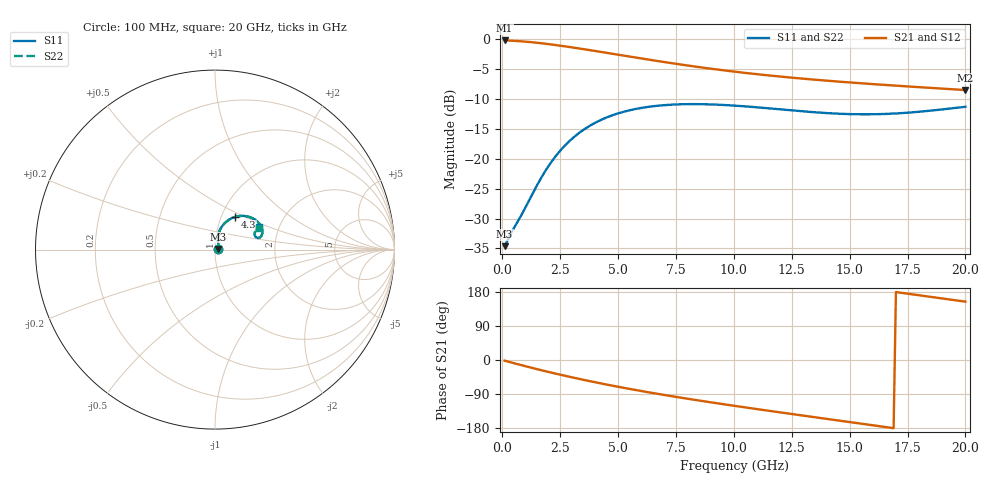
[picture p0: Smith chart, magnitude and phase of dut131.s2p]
! Touchstone file exported from HFSS 2024.1.0
!  File:  C:/UserFiles/LocalFiles/RDL_TSV_Batchsim/temp_RDL_TSV_131_1779427392.aedt
!  Generated:  01:36:16 PM May 22, 2026
!  Design:  RDL_TSV
!  Project:  temp_RDL_TSV_131_1779427392
!  Setup:  Setup1
!  Solution:  Sweep
! Variables:
!  dtsv = 9.77um
!  hbump = 3um
!  htsv = 53.54um
!  ldown = 562.92um
!  lrdl = 393.77um
!  p = 40
!  p1 = 42.29um
!  rhole = 10um
!  subl = 3263.84um
!  t = 450um
!  tdown = 4.86um
!  trdl = 2.44um
!  viad = 10um
!  wdown = 15.01um
!  wrdl = 24.79um
!  xbump = 18um
# GHz S MA R 50.000000
! Terminal data exported
! Port[1] = TM1_1_T1
! Port[2] = TM1_4_T1
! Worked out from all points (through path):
!   200 points, 100 MHz to 20 GHz, reference 50 ohm
!   highest |S21| = -0.16 dB at 100 MHz (marker M1); lowest = -8.5 dB at 20 GHz (marker M2)
!   group delay of S21, straight-line fit = 27.1 ps
!   lowest |S11| = -34.6 dB at 100 MHz (marker M3), VSWR 1.04, Z = 51.8 + j0.424 ohm
!   |S11| at or under -10 dB: start of sweep to end of sweep
!   |S22| runs from -34.6 to -10.9 dB; largest |S21 - S12| = 1.5e-14
!   S11 on the Smith chart (normalised r, x): 100 MHz: 1.04, +0.01; 4.3 GHz: 1.16, +0.44; 20 GHz: 1.57, +0.42
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0.1  0.01856 12.7  0.9816 -1.7  0.9816 -1.7  0.01856 12.7
! Gamma 0 0 0 0
! Port Impedance 50 0 50 0
0.5  0.0263 42.1  0.9743 -8.4  0.9743 -8.4  0.0263 42.0
1  0.03915 63.7  0.9595 -16.4  0.9595 -16.4  0.03915 63.6
1.6  0.06516 75.9  0.9345 -25.7  0.9345 -25.7  0.06511 75.8
2  0.08724 77.4  0.9147 -31.6  0.9147 -31.6  0.08713 77.3
2.3  0.105 76.6  0.8988 -35.9  0.8988 -35.9  0.1048 76.5
2.7  0.129 74.1  0.8766 -41.5  0.8766 -41.5  0.1288 74.0
3.1  0.1526 70.6  0.8539 -47.0  0.8539 -47.0  0.1523 70.5
3.5  0.1748 66.7  0.8308 -52.2  0.8308 -52.2  0.1744 66.5
4.3  0.2136 58.5  0.785 -62.3  0.785 -62.3  0.2131 58.3
5.4  0.2526 47.8  0.7247 -75.2  0.7247 -75.2  0.2519 47.7
6.1  0.269 41.7  0.689 -82.9  0.689 -82.9  0.2683 41.6
6.8  0.2798 36.2  0.6558 -90.3  0.6558 -90.3  0.279 36.1
7.6  0.2861 30.8  0.6213 -98.3  0.6213 -98.3  0.2853 30.7
8.4  0.2875 26.2  0.5904 -106.1  0.5904 -106.1  0.2866 26.1
10.1  0.2787 19.0  0.5357 -121.6  0.5357 -121.6  0.2779 18.9
11.7  0.2631 15.6  0.4956 -135.7  0.4956 -135.7  0.2624 15.5
13.4  0.2464 15.3  0.4621 -150.2  0.4621 -150.2  0.2458 15.2
15  0.237 17.8  0.4367 -163.8  0.4367 -163.8  0.2364 17.7
16.7  0.2385 22.0  0.414 -178.2  0.414 -178.2  0.2379 21.8
18.3  0.2512 25.4  0.3952 168.3  0.3952 168.3  0.2506 25.2
20  0.273 27.0  0.3771 154.0  0.3771 154.0  0.2724 26.9
